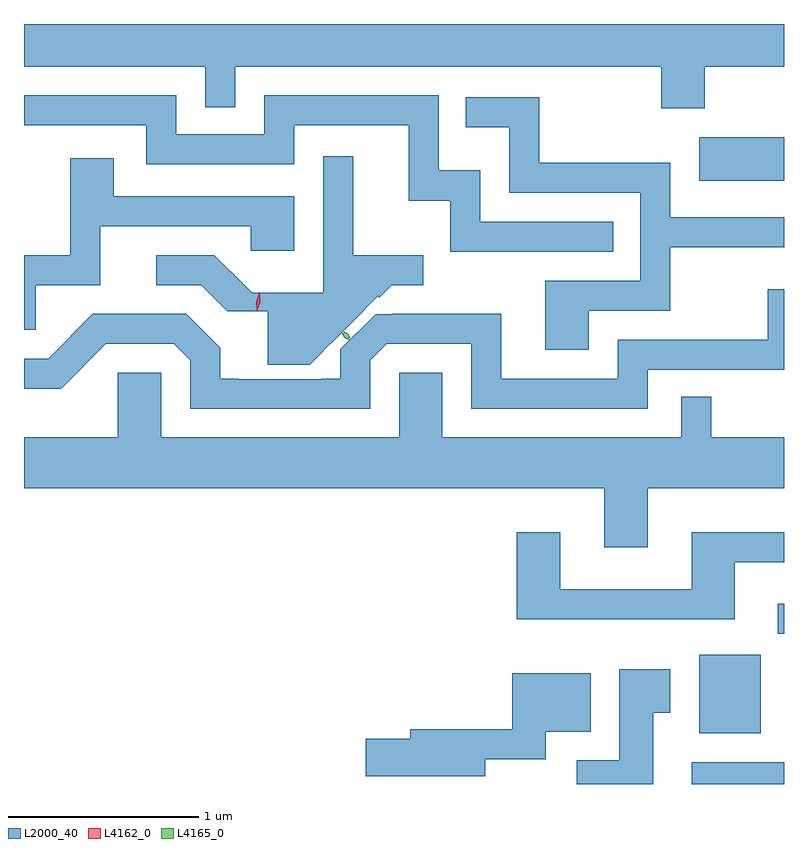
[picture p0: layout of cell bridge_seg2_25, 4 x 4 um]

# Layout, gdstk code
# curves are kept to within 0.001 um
import gdstk
lib = gdstk.Library(unit=1e-6, precision=1e-09)
def R(c, l, rs):  # rectangles x0, y0, x1, y1
    for r in rs: c.add(gdstk.rectangle(r[:2], r[2:], *l))
def P(c, l, *ps):  # polygons
    for p in ps: c.add(gdstk.Polygon(p, *l))
L2000_40 = (2000, 40)
L4162_0 = (4162, 0)
L4165_0 = (4165, 0)

bridge_seg2_25 = lib.new_cell('bridge_seg2_25')
R(bridge_seg2_25, L2000_40, [(1671.821,1037.88,1672.307,1037.994), (1671.861,1038.146,1672.184,1038.559), (1672.273,1038.671,1672.307,1038.829), (1671.861,1041.056,1672.307,1041.284)])
P(bridge_seg2_25, L2000_40, [(1671.889,1041.656),(1672.307,1041.656),(1672.307,1041.88),(1668.307,1041.88),(1668.307,1041.656),(1669.261,1041.656),(1669.261,1041.443),(1669.419,1041.443),(1669.419,1041.656),(1671.661,1041.656),(1671.661,1041.436),(1671.889,1041.436)],
  [(1671.408,1040.839),(1670.709,1040.839),(1670.709,1041.109),(1670.489,1041.109),(1670.489,1041.504),(1669.571,1041.504),(1669.571,1041.299),(1669.109,1041.299),(1669.109,1041.504),(1668.307,1041.504),(1668.307,1041.346),(1668.951,1041.346),(1668.951,1041.141),(1669.729,1041.141),(1669.729,1041.346),(1670.331,1041.346),(1670.331,1040.951),(1670.551,1040.951),(1670.551,1040.681),(1671.408,1040.681)],
  [(1671.279,1040.371),(1671.709,1040.371),(1671.709,1040.706),(1672.307,1040.706),(1672.307,1040.864),(1671.709,1040.864),(1671.709,1041.149),(1671.019,1041.149),(1671.019,1041.494),(1670.633,1041.494),(1670.633,1041.336),(1670.861,1041.336),(1670.861,1040.991),(1671.551,1040.991),(1671.551,1040.529),(1671.051,1040.529),(1671.051,1040.166),(1671.279,1040.166)],
  [(1669.883,1040.157),(1669.881,1040.159),(1669.952,1040.229),(1669.953,1040.228),(1670.099,1040.374),(1670.098,1040.376),(1670.168,1040.446),(1670.176,1040.439),(1670.243,1040.506),(1670.408,1040.506),(1670.408,1040.664),(1670.039,1040.664),(1670.039,1041.183),(1669.881,1041.183),(1669.881,1040.466),(1669.508,1040.466),(1669.307,1040.664),(1669.003,1040.664),(1669.003,1040.506),(1669.239,1040.506),(1669.377,1040.368),(1669.591,1040.368),(1669.591,1040.086),(1669.812,1040.086)],
  [(1668.369,1040.506),(1668.709,1040.506),(1668.709,1040.816),(1669.501,1040.816),(1669.501,1040.686),(1669.729,1040.686),(1669.729,1040.974),(1668.779,1040.974),(1668.779,1041.174),(1668.551,1041.174),(1668.551,1040.664),(1668.307,1040.664),(1668.307,1040.271),(1668.369,1040.271)],
  [(1670.129,1040.109),(1670.217,1040.196),(1670.661,1040.196),(1670.661,1039.856),(1671.589,1039.856),(1671.589,1040.061),(1672.307,1040.061),(1672.307,1040.484),(1672.221,1040.484),(1672.221,1040.219),(1671.431,1040.219),(1671.431,1040.014),(1670.819,1040.014),(1670.819,1040.354),(1670.157,1040.353),(1669.972,1040.169),(1669.972,1040.013),(1669.875,1040.013),(1669.875,1040.009),(1669.435,1040.009),(1669.435,1040.014),(1669.339,1040.014),(1669.339,1040.177),(1669.162,1040.354),(1668.669,1040.354),(1668.434,1040.119),(1668.307,1040.119),(1668.307,1039.961),(1668.502,1039.961),(1668.737,1040.196),(1669.094,1040.196),(1669.181,1040.109),(1669.181,1039.856),(1670.129,1039.856)],
  [(1671.589,1039.436),(1672.307,1039.436),(1672.307,1039.704),(1671.924,1039.704),(1671.924,1039.918),(1671.766,1039.918),(1671.766,1039.704),(1670.509,1039.704),(1670.509,1040.044),(1670.281,1040.044),(1670.281,1039.704),(1669.029,1039.704),(1669.029,1040.044),(1668.801,1040.044),(1668.801,1039.704),(1668.307,1039.704),(1668.307,1039.436),(1671.361,1039.436),(1671.361,1039.126),(1671.589,1039.126)],
  [(1672.049,1039.046),(1672.307,1039.046),(1672.307,1039.204),(1671.821,1039.204),(1671.821,1038.904),(1671.129,1038.904),(1671.129,1039.204),(1670.901,1039.204),(1670.901,1038.746),(1672.049,1038.746)],
  [(1671.619,1038.256),(1671.709,1038.256),(1671.709,1038.484),(1671.441,1038.484),(1671.441,1038.004),(1671.216,1038.004),(1671.216,1037.88),(1671.619,1037.88)],
  [(1670.734,1038.011),(1671.054,1038.011),(1671.054,1038.156),(1671.289,1038.156),(1671.289,1038.464),(1670.876,1038.464),(1670.876,1038.169),(1670.341,1038.169),(1670.341,1038.119),(1670.106,1038.119),(1670.106,1037.921),(1670.734,1037.921)])
P(bridge_seg2_25, L4162_0, [(1669.531,1040.368),(1669.531,1040.368),(1669.529,1040.418),(1669.546,1040.465),(1669.547,1040.465),(1669.547,1040.465),(1669.549,1040.415),(1669.532,1040.368)],
  [(1669.534,1040.372),(1669.533,1040.373),(1669.53,1040.418),(1669.546,1040.459),(1669.547,1040.46),(1669.547,1040.459),(1669.55,1040.415),(1669.534,1040.373)])
P(bridge_seg2_25, L4165_0, [(1670.023,1040.226),(1670,1040.235),(1669.991,1040.258),(1669.991,1040.259),(1669.992,1040.259),(1670.014,1040.249),(1670.024,1040.226),(1670.024,1040.226)],
  [(1670.017,1040.217),(1669.992,1040.228),(1669.981,1040.253),(1669.981,1040.254),(1669.982,1040.254),(1670.006,1040.242),(1670.018,1040.217),(1670.018,1040.217)])

lib.write_gds('bridge_seg2_25.gds')
